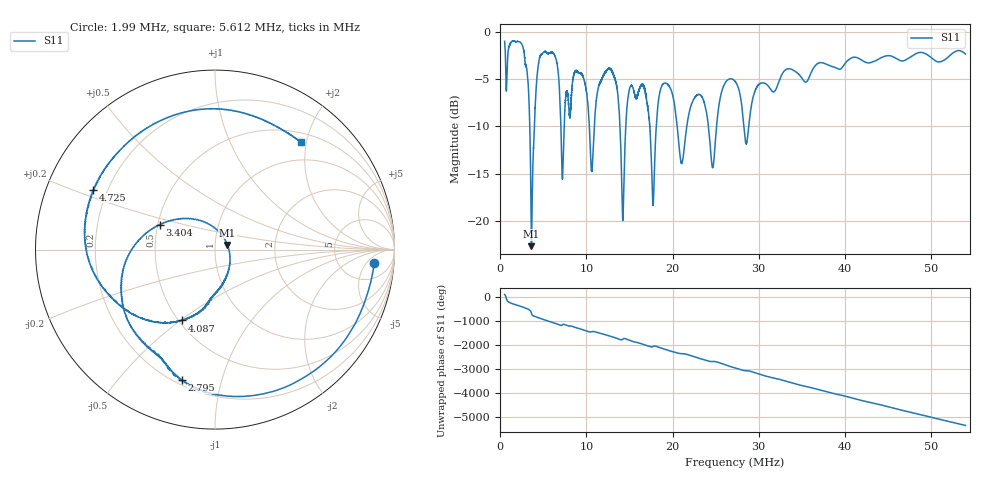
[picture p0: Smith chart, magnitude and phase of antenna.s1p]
! Calibrated high-resolution NanoVNA antenna measurement
# Hz S RI R 50
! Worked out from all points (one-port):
!   40001 points, 500 kHz to 54 MHz, reference 50 ohm
!   lowest |S11| = -22.7 dB at 3.619 MHz (marker M1), VSWR 1.16, Z = 57.3 + j3 ohm
!   |S11| at or under -10 dB: 17.35 MHz to 18.11 MHz (751.7 kHz wide, 4.24 % of centre); 20.53 MHz to 21.66 MHz (1.121 MHz wide, 5.31 % of centre); 24.16 MHz to 25.11 MHz (948.6 kHz wide, 3.85 % of centre)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
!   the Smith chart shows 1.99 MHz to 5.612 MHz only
!   S11 on the Smith chart (normalised r, x): 1.99 MHz: 11, -8; 2.795 MHz: 0.23, -0.76; 3.404 MHz: 0.51, +0.16; 4.087 MHz: 0.52, -0.51; 4.725 MHz: 0.15, +0.23; 5.612 MHz: 0.65, +1.89
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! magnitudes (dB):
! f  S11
! 500 kHz  -1.0
! 1.99 MHz  -1.0
! 2.795 MHz  -2.5
! 3.404 MHz  -9.4
! 3.619 MHz  -22.7
! 4.087 MHz  -7.2
! 4.725 MHz  -2.4
! 5.612 MHz  -2.3
! 6.576 MHz  -3.3
! 7.188 MHz  -15.4
! 8.837 MHz  -4.2
! 10.6 MHz  -14.8
! 12.45 MHz  -4.0
! 13.88 MHz  -9.6
! 14.23 MHz  -19.9
! 15.16 MHz  -5.7
! 16.79 MHz  -6.2
! 17.72 MHz  -18.3
! 18.8 MHz  -5.6
! 20.56 MHz  -10.3
! 23.24 MHz  -6.7
! 24.67 MHz  -14.4
! 27.25 MHz  -5.3
! 28.56 MHz  -11.8
! 33.94 MHz  -4.0
! 40.62 MHz  -2.9
! 47.31 MHz  -2.9
! 54 MHz  -2.4
